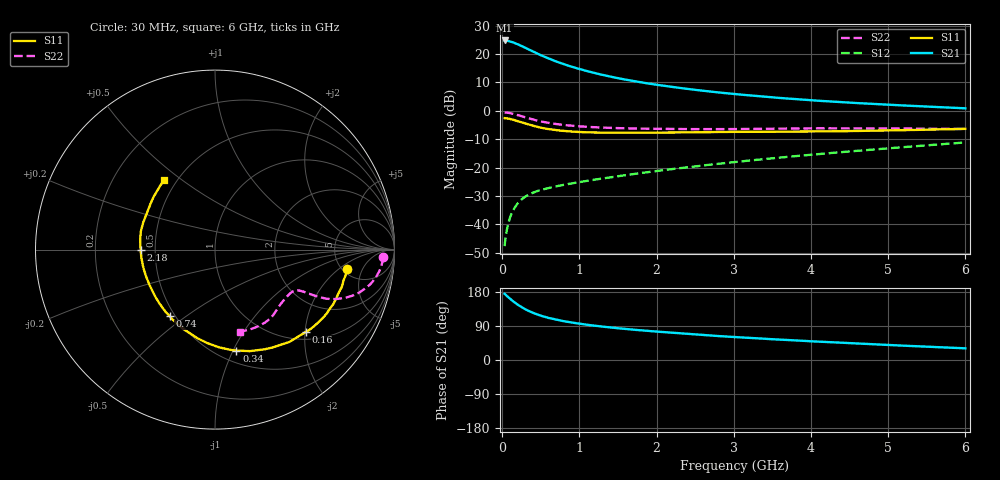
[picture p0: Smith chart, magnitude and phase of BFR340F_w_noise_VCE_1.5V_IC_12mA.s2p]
! Infineon Technologies  Discrete & RF Semiconductors
! BFR340F
! VCE =  1.5 V,  IC =  12 mA
! Common Emitter S-Parameters:  Nov 2015
# GHz  S  MA  R  50
!  f  S11  S21  S12  S22
! GHz  MAG  ANG  MAG  ANG  MAG  ANG  MAG  ANG
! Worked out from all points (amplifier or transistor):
!   206 points, 30 MHz to 6 GHz, reference 50 ohm
!   highest |S21| = 24.8 dB at 30 MHz (marker M1)
!   |S21| within 3 dB of that: start of sweep to 328.4 MHz
!   unconditionally stable (mu >= 1): 1.1 GHz to 5.497 GHz
!   at 200 MHz: K = 0.30, MSG = 28.1 dB, |S12| = -32.6 dB
!   at 1.56 GHz: K = 1.14, MAG = 14.7 dB, |S12| = -22.8 dB
!   at 6 GHz: K = 0.97, MSG = 6.0 dB, |S12| = -11.2 dB
!   lowest NFmin = 1.62 dB at 450 MHz
!   S11 on the Smith chart (normalised r, x): 30 MHz: 5.50, -2.64; 160 MHz: 1.18, -2.03; 340 MHz: 0.61, -1.03; 740 MHz: 0.47, -0.43; 2.18 GHz: 0.41, -0.00; 6 GHz: 0.43, +0.43
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0.03  0.7436 -8.3  17.43 174.8  0.0041 83.9  0.938 -2.6
0.05  0.7364 -13.7  17.23 170.4  0.0068 81.3  0.9342 -4.7
0.07  0.7296 -19.4  17.18 166.8  0.0093 79.7  0.9275 -6.6
0.12  0.7116 -32.3  16.46 158.4  0.0154 74.5  0.9 -11.0
0.16  0.6835 -42.0  15.7 152.0  0.0195 70.8  0.8708 -13.9
0.2  0.6604 -51.3  14.96 145.9  0.0234 67.5  0.8401 -16.5
0.24  0.6327 -59.5  14.11 140.7  0.0266 64.4  0.8085 -18.5
0.3  0.5979 -71.1  12.9 133.6  0.0308 61.0  0.7631 -20.8
0.34  0.5751 -78.0  12.12 129.7  0.033 59.3  0.7355 -21.9
0.4  0.5456 -87.4  11.06 124.2  0.0361 57.3  0.6986 -23.2
0.5  0.5049 -100.7  9.559 116.9  0.0401 55.4  0.6488 -24.3
0.6  0.4767 -111.8  8.361 111.0  0.0435 54.6  0.6118 -24.8
0.74  0.4491 -124.3  7.082 104.8  0.0479 54.8  0.5752 -25.2
0.9  0.431 -136.0  5.984 98.8  0.0524 55.9  0.5457 -25.4
1.04  0.4206 -144.0  5.274 94.6  0.0565 57.2  0.5284 -25.8
1.5  0.4108 -163.1  3.766 83.8  0.0703 61.8  0.4954 -27.9
2.02  0.4128 -176.5  2.857 74.6  0.0876 65.9  0.481 -31.8
2.18  0.4144 -180.0  2.659 72.1  0.0932 67.0  0.4788 -33.2
3.1  0.4256 164.7  1.928 59.6  0.1285 70.9  0.4778 -42.4
4.1  0.4317 150.9  1.506 48.5  0.1728 72.4  0.4919 -51.5
5.1  0.4537 137.7  1.263 38.7  0.2235 71.9  0.4887 -62.3
6  0.4809 125.9  1.107 30.8  0.2768 69.9  0.4784 -73.2
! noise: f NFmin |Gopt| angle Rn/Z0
0.45  1.62  0.17  -3  0.26
0.9  1.82  0.15  6  0.31
1.9  2.52  0.09  -101  0.34
2.4  2.96  0.14  -129  0.33
